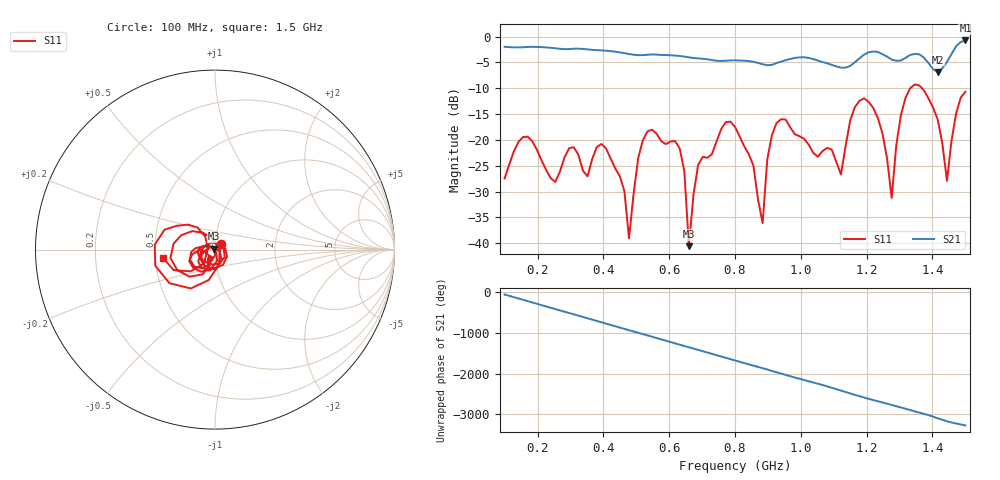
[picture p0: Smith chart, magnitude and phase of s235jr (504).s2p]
! NanoVNA-App
! Date: 2025-09-25 15:08:05
! Start: 100MHz Stop: 1,5GHz Points: 101
! S-Parameter data: F S11 S21 S12 S22
# Hz S RI R 50
!  Frequency  S11_Real  S11_Imag  S21_Real  S21_Imag  S12_Real  S12_Imag  S22_Real  S22_Imag
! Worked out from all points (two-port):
!   101 points, 100 MHz to 1.5 GHz, reference 50 ohm
!   highest |S21| = -0.74 dB at 1.5 GHz (marker M1); lowest = -6.9 dB at 1.416 GHz (marker M2)
!   |S21| within 3 dB of the highest: start of sweep to 631.9 MHz; 1.187 GHz to 1.258 GHz (70.78 MHz wide, 5.79 % of centre) (the widest 2 of 4)
!   lowest |S11| = -40.6 dB at 660 MHz (marker M3), VSWR 1.02, Z = 49.3 + j0.546 ohm
!   |S11| at or under -10 dB: start of sweep to 1.332 GHz; 1.368 GHz to end of sweep
!   S12 and S22 are empty: the file has one direction only
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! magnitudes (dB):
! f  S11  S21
! 100 MHz  -27.5  -2.0
! 156 MHz  -19.5  -2.1
! 338 MHz  -26.0  -2.4
! 408 MHz  -21.6  -2.7
! 478 MHz  -39.1  -3.4
! 520 MHz  -20.1  -3.6
! 576 MHz  -20.3  -3.5
! 632 MHz  -21.7  -3.7
! 660 MHz  -40.6  -4.0
! 688 MHz  -24.9  -4.2
! 800 MHz  -17.5  -4.6
! 884 MHz  -36.1  -5.4
! 926 MHz  -16.8  -5.1
! 1.038 GHz  -22.5  -4.3
! 1.122 GHz  -26.7  -6.0
! 1.192 GHz  -12.0  -3.5
! 1.248 GHz  -18.7  -3.4
! 1.276 GHz  -31.3  -4.4
! 1.332 GHz  -10.0  -3.5
! 1.416 GHz  -16.1  -6.9
! 1.444 GHz  -27.9  -4.9
! 1.5 GHz  -10.7  -0.7
